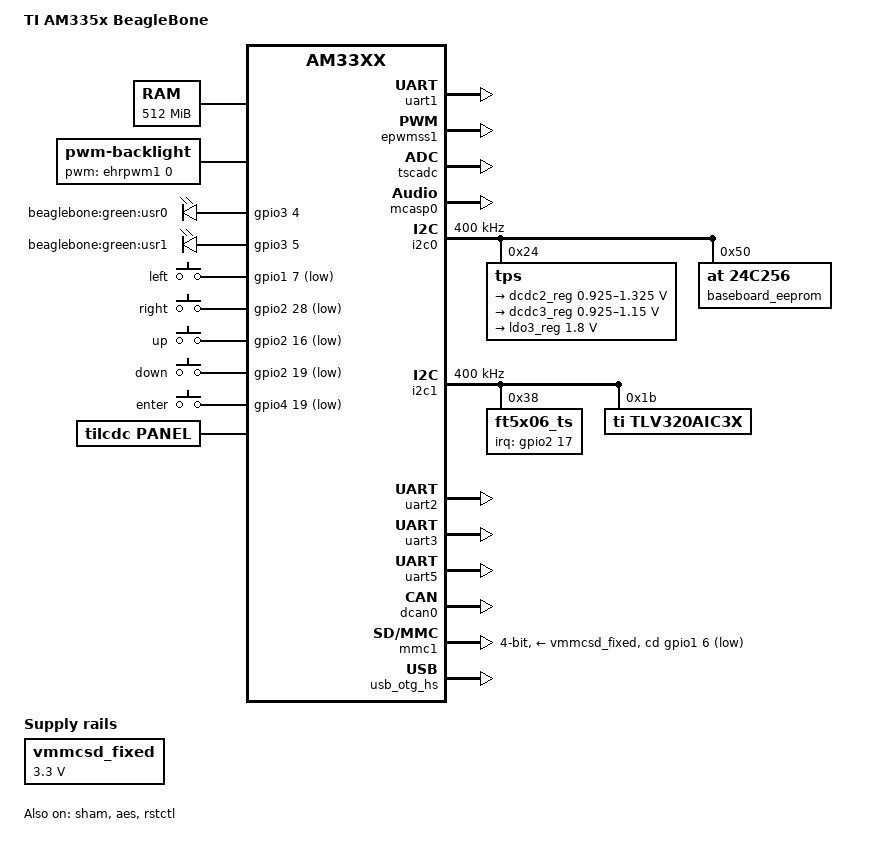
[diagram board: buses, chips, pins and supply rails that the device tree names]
/*
 * Copyright (C) 2012 Texas Instruments Incorporated - http://www.ti.com/
 *
 * This program is free software; you can redistribute it and/or modify
 * it under the terms of the GNU General Public License version 2 as
 * published by the Free Software Foundation.
 */
/dts-v1/;

/include/ "am33xx.dtsi"

/ {
        model = "TI AM335x BeagleBone";
        compatible = "ti,am335x-bone", "ti,am33xx";

        cpus {
                cpu@0 {
                        cpu0-supply = <&dcdc2_reg>;
                };
        };

        memory {
                device_type = "memory";
                reg = <0x80000000 0x20000000>; /* 512 MB */
        };

        am33xx_pinmux: pinmux@44e10800 {
                pinctrl-names = "default";

                userled_pins: pinmux_userled_pins {
                        pinctrl-single,pins = <
				0x98 0x7	/* gpmc_wen.gpio2_4, OUTPUT | MODE7 */
				0x9c 0x7	/* gpmc_ben0_cle.gpio2_5, OUTPUT | MODE7 */
                        >;
                };
                i2c0_pins: pinmux_i2c0_pins {
                        pinctrl-single,pins = <
                                0x188 0x70      /* i2c0_sda, SLEWCTRL_SLOW | INPUT_PULLUP | MODE0 */
                                0x18c 0x70      /* i2c0_scl, SLEWCTRL_SLOW | INPUT_PULLUP | MODE0 */
                        >;
                };
                i2c1_pins: pinmux_i2c1_pins {
                        pinctrl-single,pins = <
                                0x158 0x72      /* spi0_d1.i2c1_sda, SLEWCTRL_SLOW | INPUT_PULLUP | MODE2 */
                                0x15c 0x72      /* spi0_cs0.i2c1_scl, SLEWCTRL_SLOW | INPUT_PULLUP | MODE2 */
                        >;
                };
                mmc1_pins: pinmux_mmc1_pins {
                        pinctrl-single,pins = <
                                0x160 0x2f /* GPIO0_6 (PIN_INPUT | MUX_MODE7) */
                        >;
                };
		rstctl_pins: pinmux_rstctl_pins {
			pinctrl-single,pins = <
				/* eMMC_RSTn */
				0x50 0x17	/* gpmc_a4.gpio1_20, OUTPUT | MODE7 | PULLUP */
			>;
		};
		chipsee_lcd_pins: pinmux_chipsee_lcd_pins {
			pinctrl-single,pins = <
				0xa0 0x00       /* lcd_data0.lcd_data0, OMAP_MUX_MODE0 | AM33XX_PIN_OUTPUT */
				0xa4 0x00       /* lcd_data1.lcd_data1, OMAP_MUX_MODE0 | AM33XX_PIN_OUTPUT */
				0xa8 0x00       /* lcd_data2.lcd_data2, OMAP_MUX_MODE0 | AM33XX_PIN_OUTPUT */
				0xac 0x00       /* lcd_data3.lcd_data3, OMAP_MUX_MODE0 | AM33XX_PIN_OUTPUT */
				0xb0 0x00       /* lcd_data4.lcd_data4, OMAP_MUX_MODE0 | AM33XX_PIN_OUTPUT */
				0xb4 0x00       /* lcd_data5.lcd_data5, OMAP_MUX_MODE0 | AM33XX_PIN_OUTPUT */
				0xb8 0x00       /* lcd_data6.lcd_data6, OMAP_MUX_MODE0 | AM33XX_PIN_OUTPUT */
				0xbc 0x00       /* lcd_data7.lcd_data7, OMAP_MUX_MODE0 | AM33XX_PIN_OUTPUT */
				0xc0 0x00       /* lcd_data8.lcd_data8, OMAP_MUX_MODE0 | AM33XX_PIN_OUTPUT */
				0xc4 0x00       /* lcd_data9.lcd_data9, OMAP_MUX_MODE0 | AM33XX_PIN_OUTPUT */
				0xc8 0x00       /* lcd_data10.lcd_data10, OMAP_MUX_MODE0 | AM33XX_PIN_OUTPUT */
				0xcc 0x00       /* lcd_data11.lcd_data11, OMAP_MUX_MODE0 | AM33XX_PIN_OUTPUT */
				0xd0 0x00       /* lcd_data12.lcd_data12, OMAP_MUX_MODE0 | AM33XX_PIN_OUTPUT */
				0xd4 0x00       /* lcd_data13.lcd_data13, OMAP_MUX_MODE0 | AM33XX_PIN_OUTPUT */
				0xd8 0x00       /* lcd_data14.lcd_data14, OMAP_MUX_MODE0 | AM33XX_PIN_OUTPUT */
				0xdc 0x00       /* lcd_data15.lcd_data15, OMAP_MUX_MODE0 | AM33XX_PIN_OUTPUT */
				0x3c 0x11       /* gpmc_ad15.lcd_data16, OMAP_MUX_MODE1 | AM33XX_PIN_OUTPUT */
				0x38 0x11       /* gpmc_ad14.lcd_data17, OMAP_MUX_MODE1 | AM33XX_PIN_OUTPUT */
				0x34 0x11       /* gpmc_ad13.lcd_data18, OMAP_MUX_MODE1 | AM33XX_PIN_OUTPUT */
				0x30 0x11       /* gpmc_ad12.lcd_data19, OMAP_MUX_MODE1 | AM33XX_PIN_OUTPUT */
				0x2c 0x11       /* gpmc_ad11.lcd_data20, OMAP_MUX_MODE1 | AM33XX_PIN_OUTPUT */
				0x28 0x11       /* gpmc_ad10.lcd_data21, OMAP_MUX_MODE1 | AM33XX_PIN_OUTPUT */
				0x24 0x11       /* gpmc_ad9.lcd_data22, OMAP_MUX_MODE1 | AM33XX_PIN_OUTPUT */
				0x20 0x11       /* gpmc_ad8.lcd_data23, OMAP_MUX_MODE1 | AM33XX_PIN_OUTPUT */
				0xe0 0x00       /* lcd_vsync.lcd_vsync, OMAP_MUX_MODE0 | AM33XX_PIN_OUTPUT */
				0xe4 0x00       /* lcd_hsync.lcd_hsync, OMAP_MUX_MODE0 | AM33XX_PIN_OUTPUT */
				0xe8 0x00       /* lcd_pclk.lcd_pclk, OMAP_MUX_MODE0 | AM33XX_PIN_OUTPUT */
				0xec 0x00       /* lcd_ac_bias_en.lcd_ac_bias_en, OMAP_MUX_MODE0 | AM33XX_PIN_OUTPUT */
			>;
		};

		pwm_bl_pins: pinmux_pwm_bl_pins {
			pinctrl-single,pins = <
				0x48 0x06       /* gpmc_a2.ehrpwm1a, OMAP_MUX_MODE6 | AM33XX_PIN_OUTPUT */
			>;
		};

		chipsee_gpio_pins: pinmux_chipsee_gpio_pins {
			pinctrl-single,pins = <
				0x044 0x27      /* CAP_TSC gpmc_a1.gpio1_17, INPUT | MODE7 */
				0x094 0x07      /* BUZZER gpmc_oen_ren.gpio2_3 OUTPUT | MODE7 */
			>;      
		};

		chipsee_gpio_keys_pins: pinmux_chipsee_gpio_keys_pins {
			pinctrl-single,pins = <
				0x164 0x2f      /* KEY_LEFT ecap0_in_pwm0_out.gpio0_7, INPUT | PULLDIS | MODE7 */
				0x078 0x2f      /* KEY_RIGHT gpmc_ben1.gpio1_28, INPUT | PULLDIS | MODE7 */
				0x040 0x2f      /* KEY_UP gpmc_a0.gpio1_16, INPUT | PULLDIS | MODE7 */
				0x04c 0x2f      /* KEY_DOWN gpmc_a3.gpio1_19, INPUT | PULLDIS | MODE7 */
				0x1a4 0x2f      /* KEY_ENTER mcasp0_fxr.gpio3_19, INPUT | PULLDIS | MODE7 */
			>;
		};

                chipsee_uart1_pins: pinmux_chipsee_uart1_pins {
                        pinctrl-single,pins = <
                                0x180 0x20 /* uart1_rxd.uart1_rxd  INPUT | MODE0 */
                                0x184 0x00 /* uart1_txd.uart1_txd  OUTPUT | MODE0 */
                        >;
                };

                chipsee_uart2_pins: pinmux_chipsee_uart2_pins {
                        pinctrl-single,pins = <
                                0x150 0x21      /* spi0_sclk.uart2_rxd INPUT | MODE1 */
                                0x154 0x01      /* spi0_d0.uart2_txd OUTPUT | MODE1 */
                        >;
                };

                chipsee_uart4_pins: pinmux_chipsee_uart4_pins {
                        pinctrl-single,pins = <
                                0x070 0x26      /* gpmc_wait0.uart4_rxd INPUT | MODE6 */
                                0x074 0x06      /* gpmc_wpn.uart4_txd OUTPUT | MODE6 */
                        >;
                };

		chipsee_dcan0_pins: pinmux_chipsee_dcan0_pins {
			pinctrl-single,pins = <
				0x178 0x02      /* uart1_ctsn.d_can0_tx OUTPUT | MODE2 */
				0x17c 0x32      /* uart1_rtsn.d_can0_rx INPUT_PULLUP | MODE2 */
			>;
		};

		chipsee_audio_pins: pinmux_chipsee_audio_pins {
			pinctrl-single,pins = <
				0x190 0x20      /* mcasp0_aclkx.mcasp0_aclkx, INPUT | MODE0 */
				0x194 0x20      /* mcasp0_fsx.mcasp0_fsx, INPUT | MODE0 */
				0x198 0x20      /* mcasp0_axr0.mcasp0_axr0, INPUT | MODE0 */
				0x19c 0x22      /* mcasp0_ahclkr.mcasp0_axr2, INPUT | MODE2 */
			>;
		};
	};

        ocp: ocp {

                uart1: serial@44e09000 {
                        status = "okay";
                };

                epwmss1: epwmss@48302000 {
                        status = "okay";

                        ehrpwm1: ehrpwm@48302200 {
                                status = "okay";
                                pinctrl-names = "default";
                                pinctrl-0 = <&pwm_bl_pins>;
                        };
                };

		backlight {
			compatible      = "pwm-backlight";
			pwms = <&ehrpwm1 0 500000 0>;
			brightness-levels = <0 1 2 3 4 5 6 7 8 9 10 11 12 13 14 15 16 17 18 19 20 21 22 23 24 25 26 27 28 29 30 31 32 33 34 35 36 37 38 39 40 41 42 43 44 45 46 47 48 49 50 51 52 53 54 55 56 57 58 59 60 61 62 63 64 65 66 67 68 69 70 71 72 73 74 75 76 77 78 79 80 81 82 83 84 85 86 87 88 89 90 91 92 93 94 95 96 97 98 99 100>;
			default-brightness-level = <101>; /* index to the array above */
		};

                gpio-leds {
                        compatible = "gpio-leds";
                        pinctrl-names = "default";
                        pinctrl-0 = <&userled_pins>;

                        led0 {
                                label = "beaglebone:green:usr0";
                                gpios = <&gpio3 4 0>;
                                linux,default-trigger = "heartbeat";
                                default-state = "off";
                        };

                        led1 {
                                label = "beaglebone:green:usr1";
                                gpios = <&gpio3 5 0>;
                                linux,default-trigger = "mmc0";
                                default-state = "off";
                        };
                };

		gpio_keys {
			compatible = "gpio-keys";
			pinctrl-names = "default";
			pinctrl-0 = <&chipsee_gpio_keys_pins>;

			#address-cells = <1>;
			#size-cells = <0>;

			button@1 {
				debounce_interval = <50>;
				linux,code = <105>;
				label = "left";
				gpios = <&gpio1 7 0x1>;
				gpio-key,wakeup;
				autorepeat;
			};
			button@2 {
				debounce_interval = <50>;
				linux,code = <106>;
				label = "right";
				gpios = <&gpio2 28 0x1>;
				gpio-key,wakeup;
				autorepeat;
			};
			button@3 {
				debounce_interval = <50>;
				linux,code = <103>;
				label = "up";
				gpios = <&gpio2 16 0x1>;
				gpio-key,wakeup;
				autorepeat;
			};
			button@4 {
				debounce_interval = <50>;
				linux,code = <108>;
				label = "down";
				gpios = <&gpio2 19 0x1>;
				gpio-key,wakeup;
				autorepeat;
			};
			button@5 {
				debounce_interval = <50>;
				linux,code = <28>;
				label = "enter";
				gpios = <&gpio4 19 0x1>;
				gpio-key,wakeup;
			};
		};

		gpio_setups {
			compatible = "gpio-of-helper";
			status = "okay";
			pinctrl-names = "default";
			pinctrl-0 = <&chipsee_gpio_pins>;

			/* declare your gpios */
			cap_touch_int {
				gpio-name = "cap_touch_int";
				gpio = <&gpio2 17 0x00>;
				input;
			};

			buzzer {
				gpio-name = "buzzer";
				gpio = <&gpio3 3 0x00>;
				output;
				init-low;
			};
		};

                rtc@44e3e000 {
                        ti,system-power-controller;
        		status = "okay";
                };

                panel {
                        compatible = "tilcdc,panel";
                        pinctrl-names = "default";
                        pinctrl-0 = <&chipsee_lcd_pins>;
                        panel-info {
                                ac-bias           = <255>;
                                ac-bias-intrpt    = <0>;
                                dma-burst-sz      = <16>;
                                bpp               = <32>;
                                fdd               = <0x80>;
                                tft-alt-mode      = <0>;
                                stn-565-mode      = <0>;
                                mono-8bit-mode    = <0>;
                                sync-edge         = <0>;
                                sync-ctrl         = <0>;
                                raster-order      = <1>;
                                fifo-th           = <0>;
                        };
                        display-timings {
                                native-mode = <&timing0>;
                                timing0: 1024x600 {
                                        hactive         = <1024>;
                                        vactive         = <600>;
                                        hback-porch     = <45>;
                                        hfront-porch    = <1>;
                                        hsync-len       = <30>;
                                        vback-porch     = <22>;
                                        vfront-porch    = <12>;
                                        vsync-len       = <2>;
                                        clock-frequency = <36000000>;
                                        hsync-active    = <1>;
                                        vsync-active    = <1>;
                                };
                        };
                };

                fb {
                        compatible = "ti,am33xx-tilcdc";
                        reg = <0x4830e000 0x1000>;
                        interrupt-parent = <&intc>;
                        interrupts = <36>;
                        ti,hwmods = "lcdc";
                        ti,allow-non-reduced-blanking-modes;
                };

                tscadc {
                        compatible = "ti,ti-tscadc";
                        reg = <0x44e0d000 0x1000>;

                        interrupt-parent = <&intc>;
                        interrupts = <16>;
                        ti,hwmods = "adc_tsc";
                        status = "okay";

                        tsc {
                                ti,wires = <4>;
                                ti,x-plate-resistance = <200>;
                                ti,steps-to-config= <5>;
                                ti,x-min= <0xCB>;
                                ti,x-max= <0xFFF>;
                                ti,x-inverted= <0>;
                                ti,y-min= <0xC8>;
                                ti,y-max= <0xFFF>;
                                ti,y-inverted= <0>;
                        };

                        adc {
                                ti,adc-channels = <4 5 6 7>;
                        };
                };

		sound {
			compatible = "ti,da830-evm-audio";
			ti,model = "DA830 EVM";
			ti,audio-codec = <&tlv320aic3x>;
			ti,mcasp-controller = <&mcasp0>;
			ti,codec-clock-rate = <12000000>;
			ti,audio-routing =
				"Headphone Jack",       "HPLOUT",
				"Headphone Jack",       "HPROUT",
				"MIC3L",                "Mic Bias 2V",
				"MIC3R",                "Mic Bias 2V",
				"Mic Bias 2V",          "Mic Jack";
		};
        };

        vmmcsd_fixed: fixedregulator@0 {
                compatible = "regulator-fixed";
                regulator-name = "vmmcsd_fixed";
                regulator-min-microvolt = <3300000>;
                regulator-max-microvolt = <3300000>;
        };
};

&mcasp0 {
        pinctrl-names = "default";
        pinctrl-0 = <&chipsee_audio_pins>;

        status = "okay";

        op-mode = <0>;          /* MCASP_IIS_MODE */
        tdm-slots = <2>;
        num-serializer = <16>;
        serial-dir = <  /* 0: INACTIVE, 1: TX, 2: RX */
                1 0 2 0
                0 0 0 0
                0 0 0 0
                0 0 0 0
        >;
        tx-num-evt = <1>;
        rx-num-evt = <1>;
};

&i2c0 {
        status = "okay";
        clock-frequency = <400000>;
        pinctrl-names = "default";
        pinctrl-0 = <&i2c0_pins>;

        tps: tps@24 {
                reg = <0x24>;
        };

        baseboard_eeprom: baseboard_eeprom@50 {
                compatible = "at,24c256";
                reg = <0x50>;
        };
};

&i2c1 {
        status = "okay";
        clock-frequency = <400000>;
        pinctrl-names = "default";
        pinctrl-0 = <&i2c1_pins>;

        ft5x06_ts: ft5x06_ts@38 {
                compatible = "ft5x06_ts";
                reg = <0x38>;
                interrupt-parent = <&gpio2>;
                interrupts = <17>;
        };

        tlv320aic3x: tlv320aic3x@1b {
                compatible = "ti,tlv320aic3x";
                reg = <0x1b>;
                status = "okay";
        };
};

/include/ "tps65217.dtsi"

&tps {
        ti,pmic-shutdown-controller;

        interrupt-parent = <&intc>;
        interrupts = <7>;       /* NNMI */

        regulators {
                dcdc1_reg: regulator@0 {
                        regulator-always-on;
                };

                dcdc2_reg: regulator@1 {
                        /* VDD_MPU voltage limits 0.95V - 1.26V with +/-4% tolerance */
                        regulator-name = "vdd_mpu";
                        regulator-min-microvolt = <925000>;
                        regulator-max-microvolt = <1325000>;
                        regulator-boot-on;
                        regulator-always-on;
                };

                dcdc3_reg: regulator@2 {
                        /* VDD_CORE voltage limits 0.95V - 1.1V with +/-4% tolerance */
                        regulator-name = "vdd_core";
                        regulator-min-microvolt = <925000>;
                        regulator-max-microvolt = <1150000>;
                        regulator-boot-on;
                        regulator-always-on;
                };

                ldo1_reg: regulator@3 {
                        regulator-always-on;
                };

                ldo2_reg: regulator@4 {
                        regulator-always-on;
                };

                ldo3_reg: regulator@5 {
                        regulator-min-microvolt = <1800000>;
                        regulator-max-microvolt = <3300000>;
                        regulator-always-on;
                };

                ldo4_reg: regulator@6 {
                        regulator-always-on;
                };
        };
};

&uart2 {
        status = "okay";
        pinctrl-names = "default";
        pinctrl-0 = <&chipsee_uart1_pins>;
};

&uart3 {
        status = "okay";
        pinctrl-names = "default";
        pinctrl-0 = <&chipsee_uart2_pins>;
};

&uart5 {
        status = "okay";
        pinctrl-names = "default";
        pinctrl-0 = <&chipsee_uart4_pins>;
};

&dcan0 {
        status = "okay";
        pinctrl-names = "default";
        pinctrl-0 = <&chipsee_dcan0_pins>;
};

&cpsw_emac0 {
        phy_id = <&davinci_mdio>, <0>;
};

&cpsw_emac1 {
        phy_id = <&davinci_mdio>, <1>;
};

&mmc1 {
        pinctrl-names = "default";
        pinctrl-0 = <&mmc1_pins>;
        bus-width = <0x4>;
        cd-gpios = <&gpio1 6 0>; /* gpio1 is misnamed, 0 == GPIO_ACTIVE_HIGH */
        cd-inverted;
        status = "okay";
        vmmc-supply = <&ldo3_reg>;
        ti,vcc-aux-disable-is-sleep;
};

&edma {
        ti,edma-xbar-event-map = <32 12>,       /* gpevt2 -> 12 */
                                 <30 20>;       /* xdma_event_intr2 -> 20 */
};

&sham {
        status = "okay";
};

&aes {
        status = "okay";
};

&usb_otg_hs {
        interface_type = <1>;
        power = <250>;
        status = "okay";
};

&ldo3_reg {
	regulator-min-microvolt = <1800000>;
	regulator-max-microvolt = <1800000>;
	regulator-always-on;
};

&rstctl {
	status = "okay";
	compatible = "gpio-rctrl";
	pinctrl-names = "default";
	pinctrl-0 = <&rstctl_pins>;

	#reset-cells = <2>;

	gpios = <&gpio2 20 0x00>;
	gpio-names = "eMMC_RSTn";
};

&mmc1 {
	vmmc-supply = <&vmmcsd_fixed>;
};

&mmc2 {
	vmmc-supply = <&vmmcsd_fixed>;
	bus-width = <8>;
	ti,non-removable;
	status = "disabled";

	reset = <&rstctl 0 0>;
	reset-names = "eMMC_RSTn-CONSUMER";
};

&cpu {
        /*
         * To consider voltage drop between PMIC and SoC,
         * tolerance value is reduced to 2% from 4% and
         * voltage value is increased as a precaution.
         */
        operating-points = <
                /* kHz    uV */
                1000000 1350000
                800000  1300000
                600000  1112000
                300000   969000
        >;
};
